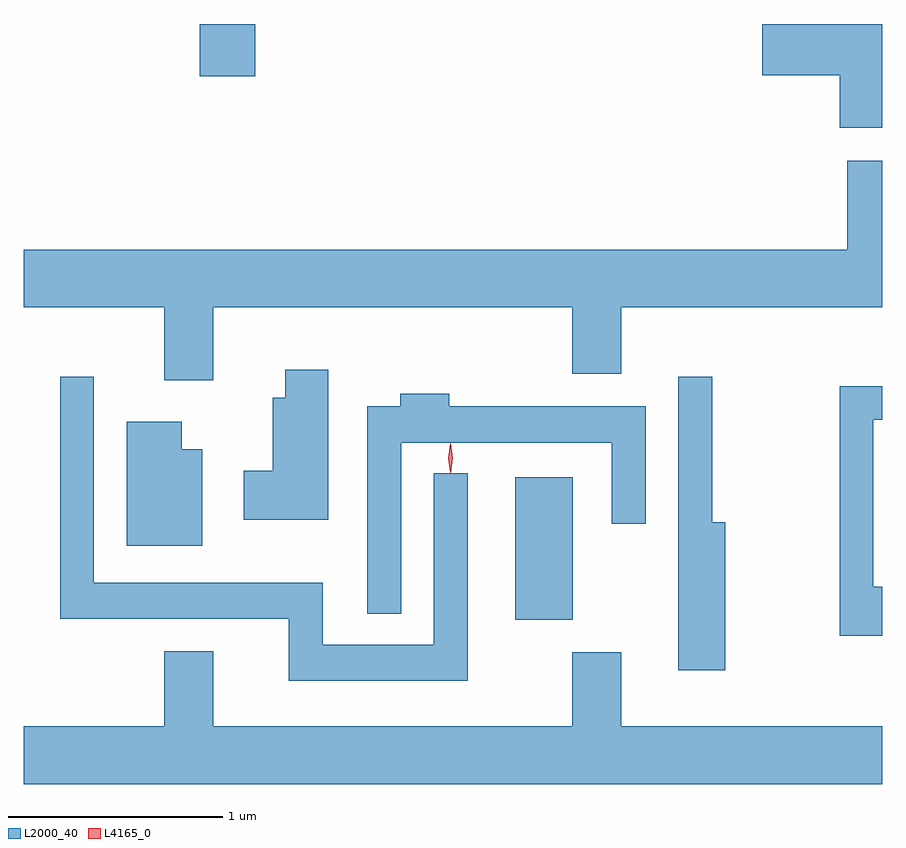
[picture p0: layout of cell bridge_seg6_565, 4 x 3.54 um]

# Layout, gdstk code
import gdstk
lib = gdstk.Library(unit=1e-6, precision=1e-09)
def R(c, l, rs):  # rectangles x0, y0, x1, y1
    for r in rs: c.add(gdstk.rectangle(r[:2], r[2:], *l))
def P(c, l, *ps):  # polygons
    for p in ps: c.add(gdstk.Polygon(p, *l))
L2000_40 = (2000, 40)
L4165_0 = (4165, 0)

bridge_seg6_565 = lib.new_cell('bridge_seg6_565')
R(bridge_seg6_565, L2000_40, [(409.506,1608.521,409.774,1609.184), (408.036,1611.051,408.294,1611.295)])
P(bridge_seg6_565, L2000_40, [(411.216,1611.295),(410.656,1611.295),(410.656,1611.056),(411.016,1611.056),(411.016,1610.811),(411.216,1610.811)],
  [(408.099,1609.976),(409.771,1609.976),(409.771,1609.666),(409.999,1609.666),(409.999,1609.976),(411.216,1609.976),(411.216,1610.659),(411.051,1610.659),(411.051,1610.244),(407.216,1610.244),(407.216,1609.976),(407.871,1609.976),(407.871,1609.636),(408.099,1609.636)],
  [(408.634,1609.684),(408.436,1609.684),(408.436,1609.554),(408.376,1609.554),(408.376,1609.214),(408.241,1609.214),(408.241,1608.986),(408.634,1608.986)],
  [(409.284,1609.203),(409.126,1609.203),(409.126,1608.404),(408.609,1608.404),(408.609,1608.694),(407.544,1608.694),(407.544,1609.653),(407.386,1609.653),(407.386,1608.526),(408.451,1608.526),(408.451,1608.236),(409.284,1608.236)],
  [(410.484,1608.974),(410.424,1608.974),(410.424,1609.653),(410.266,1609.653),(410.266,1608.286),(410.484,1608.286)],
  [(411.216,1608.674),(411.174,1608.674),(411.174,1609.451),(411.216,1609.451),(411.216,1609.609),(411.016,1609.609),(411.016,1608.446),(411.216,1608.446)],
  [(408.974,1609.346),(409.956,1609.346),(409.956,1608.968),(410.114,1608.968),(410.114,1609.514),(409.199,1609.514),(409.199,1609.574),(408.971,1609.574),(408.971,1609.514),(408.816,1609.514),(408.816,1608.548),(408.974,1608.548)],
  [(408.049,1609.314),(407.954,1609.314),(407.954,1609.444),(407.696,1609.444),(407.696,1608.866),(408.049,1608.866)],
  [(411.216,1608.024),(409.999,1608.024),(409.999,1608.369),(409.771,1608.369),(409.771,1608.024),(408.099,1608.024),(408.099,1608.374),(407.871,1608.374),(407.871,1608.024),(407.216,1608.024),(407.216,1607.756),(411.216,1607.756)])
P(bridge_seg6_565, L4165_0, [(409.205,1609.204),(409.205,1609.204),(409.195,1609.273),(409.205,1609.343),(409.205,1609.343),(409.206,1609.343),(409.215,1609.273),(409.206,1609.204)],
  [(409.204,1609.207),(409.204,1609.207),(409.194,1609.274),(409.204,1609.34),(409.204,1609.341),(409.204,1609.34),(409.214,1609.274),(409.204,1609.207)])

lib.write_gds('bridge_seg6_565.gds')
